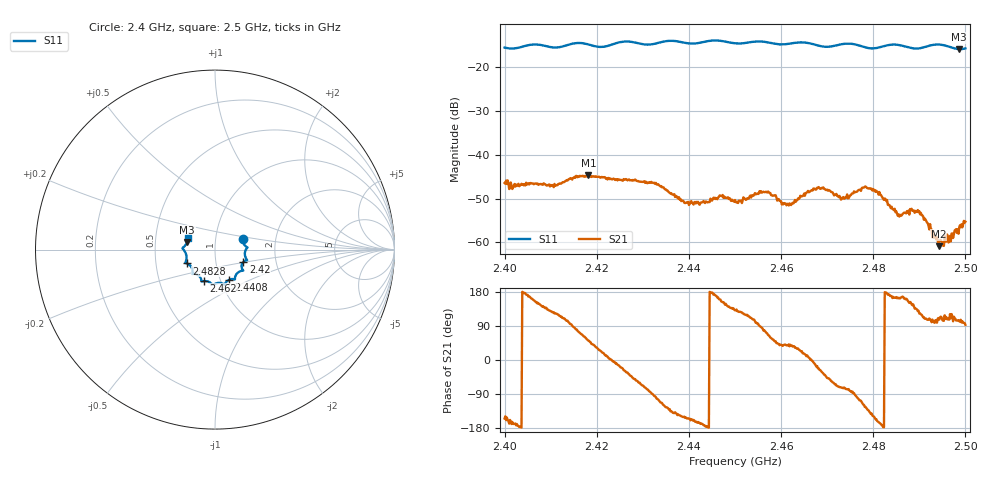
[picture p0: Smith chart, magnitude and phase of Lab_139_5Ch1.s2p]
# Hz S RI R 50
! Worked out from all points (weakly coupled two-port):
!   601 points, 2.4 GHz to 2.5 GHz, reference 50 ohm
!   highest |S21| = -44.66 dB at 2.4182 GHz (marker M1); lowest = -60.9 dB at 2.4942 GHz (marker M2)
!   lowest |S11| = -15.9 dB at 2.4987 GHz (marker M3), VSWR 1.38, Z = 36.5 + j3.22 ohm
!   |S11| at or under -10 dB: start of sweep to end of sweep
!   S12 and S22 are empty: the file has one direction only
!   S11 on the Smith chart (normalised r, x): 2.4 GHz: 1.36, +0.17; 2.42 GHz: 1.36, -0.19; 2.4408 GHz: 1.10, -0.38; 2.462 GHz: 0.83, -0.30; 2.4828 GHz: 0.72, -0.11; 2.5 GHz: 0.73, +0.09
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2.4e9  0.1553 0.0616  -0.00429 -0.00206  0 0  0 0
2.410833e9  0.1668 -0.0155  -0.00251 0.0039  0 0  0 0
2.416667e9  0.1786 -0.0589  0.00213 0.00529  0 0  0 0
2.418167e9  0.1714 -0.0604  0.00368 0.00454  0 0  0 0
2.42e9  0.1571 -0.0693  0.0047 0.00304  0 0  0 0
2.433333e9  0.1118 -0.1525  -0.00115 -0.00447  0 0  0 0
2.440833e9  0.0781 -0.1687  -0.00262 -0.000963  0 0  0 0
2.446833e9  0.0501 -0.1935  -0.0032 0.0012  0 0  0 0
2.45e9  0.0272 -0.1853  -0.00199 0.0023  0 0  0 0
2.456667e9  -0.0164 -0.1929  0.00102 0.00363  0 0  0 0
2.462e9  -0.062 -0.1751  0.00209 0.00176  0 0  0 0
2.466667e9  -0.0764 -0.1682  0.00392 -0.000117  0 0  0 0
2.469167e9  -0.0878 -0.1477  0.00344 -0.00247  0 0  0 0
2.4735e9  -0.1242 -0.1357  0.00087 -0.00317  0 0  0 0
2.478333e9  -0.1261 -0.1108  -0.00242 -0.0036  0 0  0 0
2.482833e9  -0.1587 -0.0773  -0.00295 0.000105  0 0  0 0
2.483333e9  -0.1616 -0.0765  -0.00265 0.000299  0 0  0 0
2.485667e9  -0.1638 -0.071  -0.00189 0.000547  0 0  0 0
2.490167e9  -0.1632 -0.0197  -0.00113 0.00176  0 0  0 0
2.494167e9  -0.181 0.00817  -0.000321 0.000845  0 0  0 0
2.498667e9  -0.1547 0.043  -0.000312 0.00145  0 0  0 0
2.5e9  -0.1512 0.0626  -8.41e-05 0.00172  0 0  0 0
